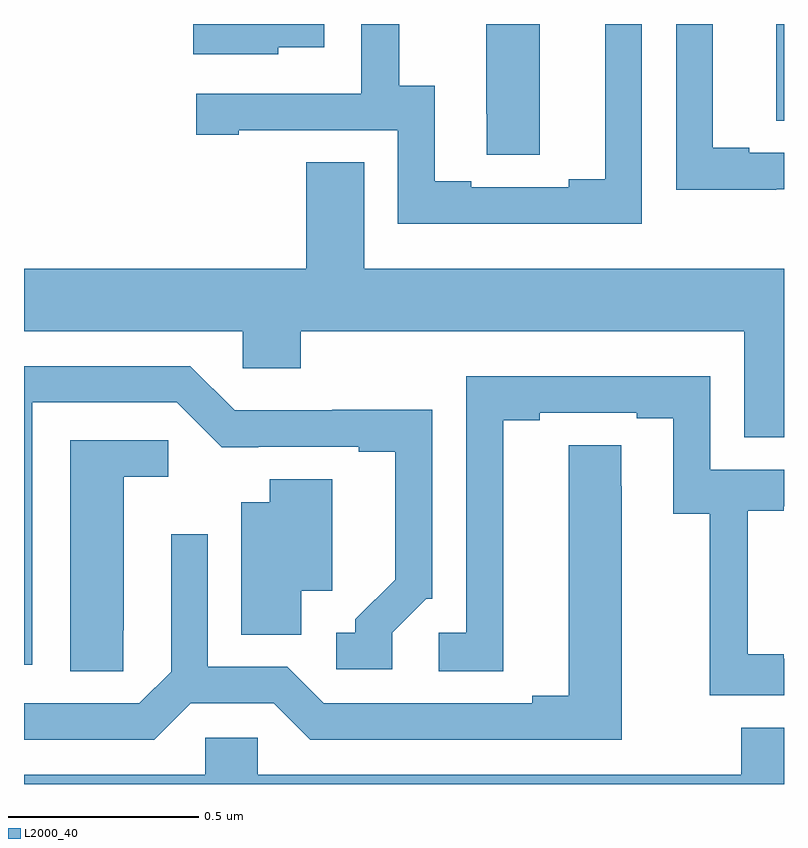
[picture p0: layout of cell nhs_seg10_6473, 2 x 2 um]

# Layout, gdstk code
import gdstk
lib = gdstk.Library(unit=1e-6, precision=1e-09)
def R(c, l, rs):  # rectangles x0, y0, x1, y1
    for r in rs: c.add(gdstk.rectangle(r[:2], r[2:], *l))
def P(c, l, *ps):  # polygons
    for p in ps: c.add(gdstk.Polygon(p, *l))
L2000_40 = (2000, 40)

nhs_seg10_6473 = lib.new_cell('nhs_seg10_6473')
R(nhs_seg10_6473, L2000_40, [(193.979,1258.246,194,1258.5)])
P(nhs_seg10_6473, L2000_40, [(193.979,1258.065),(194,1258.065),(194,1258.161),(193.909,1258.161),(193.909,1258.174),(193.813,1258.174),(193.813,1258.5),(193.716,1258.5),(193.716,1258.064),(193.979,1258.064)],
  [(192.669,1258.439),(192.79,1258.439),(192.79,1258.5),(192.446,1258.5),(192.446,1258.421),(192.669,1258.421)],
  [(193.626,1258.5),(193.529,1258.5),(193.529,1258.091),(193.433,1258.091),(193.433,1258.071),(193.177,1258.071),(193.177,1258.086),(193.081,1258.086),(193.081,1258.337),(192.987,1258.337),(192.987,1258.5),(192.888,1258.5),(192.888,1258.317),(192.453,1258.317),(192.453,1258.209),(192.565,1258.209),(192.565,1258.221),(192.984,1258.221),(192.984,1257.975),(193.626,1257.975)],
  [(193.357,1258.5),(193.217,1258.5),(193.217,1258.264),(193.218,1258.264),(193.218,1258.156),(193.357,1258.156)],
  [(194,1257.856),(192.895,1257.856),(192.895,1258.136),(192.743,1258.136),(192.743,1257.856),(192,1257.856),(192,1257.692),(192.576,1257.692),(192.576,1257.594),(192.728,1257.594),(192.728,1257.692),(193.895,1257.692),(193.895,1257.412),(194,1257.412)],
  [(192.969,1256.898),(193.059,1256.988),(193.074,1256.988),(193.074,1257.485),(192.811,1257.485),(192.811,1257.483),(192.555,1257.483),(192.438,1257.6),(192,1257.6),(192,1256.814),(192.022,1256.814),(192.022,1257.504),(192.402,1257.504),(192.52,1257.386),(192.616,1257.386),(192.616,1257.387),(192.881,1257.387),(192.881,1257.375),(192.977,1257.375),(192.977,1257.038),(192.872,1256.933),(192.872,1256.898),(192.822,1256.898),(192.822,1256.802),(192.969,1256.802)],
  [(194,1256.829),(193.999,1256.829),(193.999,1256.842),(193.904,1256.842),(193.904,1257.219),(193.999,1257.219),(193.999,1257.231),(194,1257.231),(194,1257.327),(193.806,1257.327),(193.806,1257.573),(193.164,1257.573),(193.164,1256.898),(193.092,1256.898),(193.092,1256.797),(193.261,1256.797),(193.261,1257.457),(193.357,1257.457),(193.357,1257.477),(193.613,1257.477),(193.613,1257.462),(193.709,1257.462),(193.709,1257.211),(193.804,1257.211),(193.804,1256.733),(194,1256.733)],
  [(192.261,1256.905),(192.262,1256.905),(192.262,1257.308),(192.379,1257.308),(192.379,1257.405),(192.122,1257.405),(192.122,1256.797),(192.261,1256.797)],
  [(192.439,1256.712),(192.657,1256.712),(192.753,1256.616),(193.573,1256.616),(193.573,1257.284),(193.572,1257.284),(193.572,1257.392),(193.433,1257.392),(193.433,1256.732),(193.337,1256.732),(193.337,1256.712),(192.789,1256.712),(192.693,1256.808),(192.483,1256.808),(192.483,1257.157),(192.387,1257.157),(192.387,1256.796),(192.303,1256.712),(192,1256.712),(192,1256.616),(192.343,1256.616)],
  [(192.73,1257.008),(192.811,1257.008),(192.811,1257.302),(192.647,1257.302),(192.647,1257.241),(192.572,1257.241),(192.572,1256.893),(192.73,1256.893)],
  [(194,1256.648),(193.888,1256.648),(193.888,1256.524),(192.615,1256.524),(192.615,1256.622),(192.477,1256.622),(192.477,1256.524),(192,1256.524),(192,1256.5),(194,1256.5)])

lib.write_gds('nhs_seg10_6473.gds')
